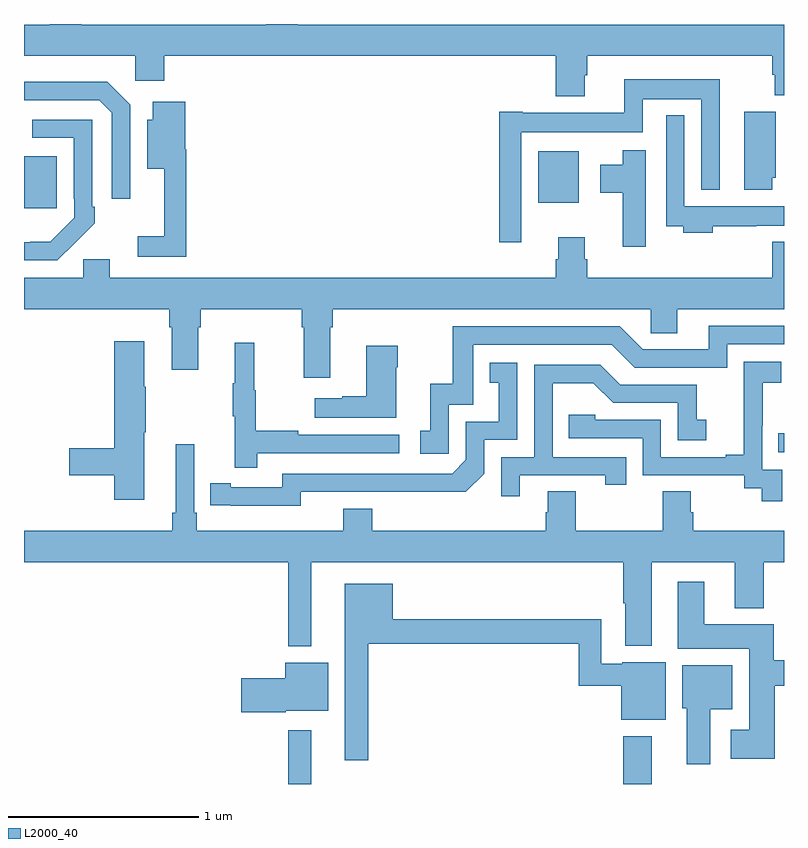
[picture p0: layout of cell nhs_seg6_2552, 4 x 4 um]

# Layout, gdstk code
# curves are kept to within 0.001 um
import gdstk
lib = gdstk.Library(unit=1e-6, precision=1e-09)
def R(c, l, rs):  # rectangles x0, y0, x1, y1
    for r in rs: c.add(gdstk.rectangle(r[:2], r[2:], *l))
def P(c, l, *ps):  # polygons
    for p in ps: c.add(gdstk.Polygon(p, *l))
L2000_40 = (2000, 40)

nhs_seg6_2552 = lib.new_cell('nhs_seg6_2552')
R(nhs_seg6_2552, L2000_40, [(264.39,947.5,264.511,947.782), (266.153,947.5,266.305,947.752), (266.971,949.245,267,949.346), (263,950.529,263.173,950.803), (265.706,950.558,265.921,950.83)])
P(nhs_seg6_2552, L2000_40, [(265.951,951.231),(265.964,951.231),(265.964,951.332),(266.939,951.332),(266.939,951.233),(266.951,951.233),(266.951,951.124),(267,951.124),(267,951.496),(264.44,951.496),(264.44,951.5),(264.275,951.5),(264.275,951.496),(263.3,951.496),(263.3,951.5),(263.135,951.5),(263.135,951.496),(263,951.496),(263,951.332),(263.586,951.332),(263.586,951.201),(263.738,951.201),(263.738,951.332),(265.799,951.332),(265.799,951.119),(265.951,951.119)],
  [(265.617,950.93),(266.256,950.93),(266.256,951.104),(266.565,951.104),(266.565,950.627),(266.662,950.627),(266.662,951.208),(266.159,951.208),(266.159,951.034),(265.624,951.034),(265.624,951.037),(265.501,951.037),(265.501,950.352),(265.617,950.352)],
  [(263.559,951.075),(263.438,951.196),(263,951.196),(263,951.099),(263.397,951.099),(263.463,951.033),(263.463,950.58),(263.559,950.58)],
  [(263.855,950.842),(263.849,950.842),(263.849,951.091),(263.678,951.091),(263.678,950.995),(263.648,950.995),(263.648,950.738),(263.738,950.738),(263.738,950.383),(263.598,950.383),(263.598,950.274),(263.855,950.274)],
  [(266.938,950.691),(266.956,950.691),(266.956,951.039),(266.792,951.039),(266.792,950.628),(266.938,950.628)],
  [(266.624,950.436),(266.855,950.436),(266.855,950.438),(267,950.438),(267,950.542),(266.475,950.542),(266.475,951.019),(266.379,951.019),(266.379,950.436),(266.471,950.436),(266.471,950.402),(266.624,950.402)],
  [(263.267,950.347),(263.268,950.346),(263.373,950.451),(263.373,950.539),(263.358,950.539),(263.358,950.997),(263.043,950.997),(263.043,950.901),(263.262,950.901),(263.262,950.581),(263.265,950.581),(263.265,950.481),(263.137,950.353),(263,950.352),(263,950.256),(263.176,950.256)],
  [(266.272,950.836),(266.15,950.836),(266.15,950.758),(266.033,950.758),(266.033,950.611),(266.15,950.611),(266.15,950.328),(266.272,950.328)],
  [(263.452,950.262),(263.313,950.262),(263.313,950.164),(263,950.164),(263,950),(263.765,950),(263.765,949.904),(263.777,949.904),(263.777,949.68),(263.917,949.68),(263.917,949.904),(263.93,949.904),(263.93,950),(264.461,950),(264.461,949.904),(264.473,949.904),(264.473,949.638),(264.613,949.638),(264.613,949.904),(264.626,949.904),(264.626,950),(266.298,950),(266.298,949.873),(266.437,949.873),(266.437,950),(267,950),(267,950.353),(266.939,950.353),(266.939,950.164),(265.964,950.164),(265.964,950.262),(265.951,950.262),(265.951,950.377),(265.811,950.377),(265.811,950.262),(265.799,950.262),(265.799,950.164),(263.452,950.164)],
  [(265.236,949.497),(265.365,949.497),(265.365,949.812),(266.094,949.812),(266.214,949.692),(266.7,949.692),(266.7,949.815),(267,949.815),(267,949.911),(266.603,949.911),(266.603,949.788),(266.256,949.788),(266.136,949.908),(265.257,949.908),(265.257,949.606),(265.139,949.606),(265.139,949.359),(265.086,949.359),(265.086,949.239),(265.236,949.239)],
  [(263.632,949.351),(263.64,949.351),(263.64,949.592),(263.632,949.592),(263.632,949.831),(263.474,949.831),(263.474,949.268),(263.238,949.268),(263.238,949.126),(263.474,949.126),(263.474,948.996),(263.632,948.996)],
  [(264.227,949.242),(264.976,949.242),(264.976,949.338),(264.443,949.338),(264.443,949.358),(264.22,949.358),(264.22,949.572),(264.212,949.572),(264.212,949.822),(264.11,949.822),(264.11,949.609),(264.099,949.609),(264.099,949.435),(264.11,949.435),(264.11,949.164),(264.227,949.164)],
  [(264.958,949.694),(264.966,949.694),(264.966,949.807),(264.8,949.807),(264.8,949.541),(264.674,949.541),(264.674,949.531),(264.531,949.531),(264.531,949.427),(264.958,949.427)],
  [(266.991,949.155),(266.886,949.155),(266.886,949.385),(266.888,949.385),(266.888,949.613),(266.986,949.613),(266.986,949.723),(266.788,949.723),(266.788,949.517),(266.789,949.517),(266.789,949.234),(266.693,949.234),(266.693,949.221),(266.352,949.221),(266.352,949.416),(266.007,949.416),(266.007,949.443),(265.867,949.443),(265.867,949.32),(266.256,949.32),(266.256,949.125),(266.79,949.125),(266.79,949.057),(266.883,949.057),(266.883,948.987),(266.991,948.987)],
  [(264.456,949.038),(265.324,949.037),(265.422,949.134),(265.422,949.311),(265.596,949.311),(265.596,949.717),(265.45,949.717),(265.45,949.611),(265.499,949.611),(265.499,949.407),(265.326,949.407),(265.326,949.206),(265.254,949.134),(264.36,949.134),(264.36,949.062),(264.088,949.062),(264.088,949.082),(263.98,949.082),(263.98,948.966),(264.456,948.965)],
  [(265.609,949.125),(266.06,949.125),(266.06,949.074),(266.171,949.074),(266.171,949.221),(265.782,949.221),(265.782,949.61),(265.996,949.61),(266.1,949.506),(266.442,949.506),(266.442,949.308),(266.59,949.308),(266.59,949.417),(266.541,949.417),(266.541,949.602),(266.137,949.602),(266.032,949.707),(265.686,949.707),(265.686,949.221),(265.512,949.221),(265.512,949.014),(265.609,949.014)],
  [(264.511,948.668),(266.153,948.668),(266.153,948.451),(266.165,948.451),(266.165,948.227),(266.305,948.227),(266.305,948.668),(266.741,948.668),(266.741,948.425),(266.894,948.425),(266.894,948.668),(267,948.668),(267,948.832),(266.522,948.832),(266.522,948.93),(266.509,948.93),(266.509,949.04),(266.362,949.04),(266.362,948.832),(265.905,948.832),(265.905,949.04),(265.757,949.04),(265.757,948.93),(265.745,948.93),(265.745,948.832),(264.833,948.832),(264.833,948.949),(264.68,948.949),(264.68,948.832),(263.909,948.832),(263.909,948.928),(263.895,948.928),(263.895,949.288),(263.798,949.288),(263.798,948.928),(263.779,948.928),(263.779,948.832),(263,948.832),(263,948.668),(264.39,948.668),(264.39,948.224),(264.511,948.224)],
  [(266.951,948.016),(267,948.016),(267,948.152),(266.946,948.152),(266.946,948.34),(266.581,948.34),(266.581,948.565),(266.441,948.565),(266.441,948.212),(266.816,948.212),(266.816,947.785),(266.721,947.785),(266.721,947.633),(266.951,947.633)],
  [(264.811,948.238),(265.921,948.238),(265.921,948.016),(266.144,948.016),(266.144,947.837),(266.377,947.837),(266.377,948.142),(266.148,948.142),(266.148,948.132),(266.037,948.132),(266.037,948.367),(264.94,948.367),(264.94,948.553),(264.689,948.553),(264.689,947.625),(264.811,947.625)],
  [(264.378,947.885),(264.601,947.885),(264.601,948.139),(264.374,948.139),(264.374,948.056),(264.144,948.056),(264.144,947.878),(264.378,947.878)],
  [(266.611,947.894),(266.728,947.894),(266.728,948.124),(266.465,948.124),(266.465,947.898),(266.489,947.898),(266.489,947.604),(266.611,947.604)])

lib.write_gds('nhs_seg6_2552.gds')
